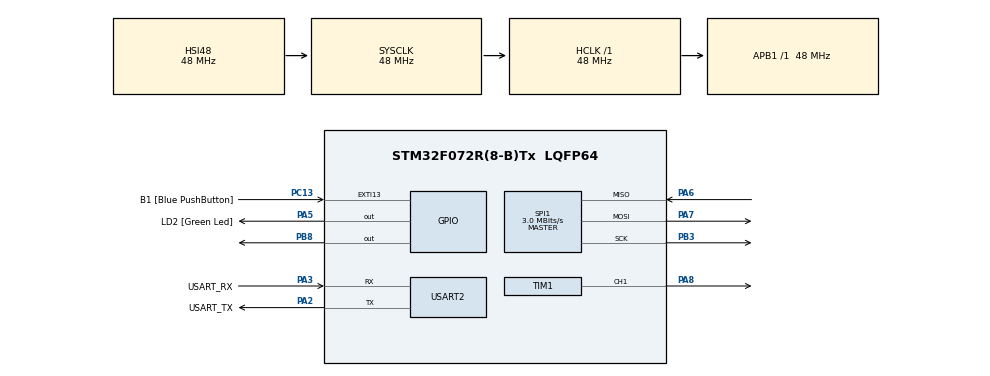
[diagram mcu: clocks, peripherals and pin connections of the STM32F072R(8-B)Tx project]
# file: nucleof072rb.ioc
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Mcu.Family=STM32F0
Mcu.Name=STM32F072R(8-B)Tx
Mcu.Package=LQFP64
PA13.GPIO_Label=TMS
PA13.Mode=Serial_Wire
PA13.Signal=SYS_SWDIO
PA14.GPIO_Label=TCK
PA14.Mode=Serial_Wire
PA14.Signal=SYS_SWCLK
PA2.GPIO_Label=USART_TX
PA2.GPIO_Mode=GPIO_MODE_AF_PP
PA2.GPIO_PuPd=GPIO_NOPULL
PA2.GPIO_Speed=GPIO_SPEED_FREQ_LOW
PA2.Mode=Asynchronous
PA2.Signal=USART2_TX
PA3.GPIO_Label=USART_RX
PA3.GPIO_Mode=GPIO_MODE_AF_PP
PA3.GPIO_PuPd=GPIO_NOPULL
PA3.GPIO_Speed=GPIO_SPEED_FREQ_LOW
PA3.Mode=Asynchronous
PA3.Signal=USART2_RX
PA5.GPIO_Label=LD2 [Green Led]
PA5.GPIO_Mode=GPIO_MODE_OUTPUT_PP
PA5.GPIO_PuPd=GPIO_NOPULL
PA5.GPIO_Speed=GPIO_SPEED_FREQ_LOW
PA5.Signal=GPIO_Output
PA6.Mode=Full_Duplex_Master
PA6.Signal=SPI1_MISO
PA7.Mode=Full_Duplex_Master
PA7.Signal=SPI1_MOSI
PA8.Signal=S_TIM1_CH1
PB3.Mode=Full_Duplex_Master
PB3.Signal=SPI1_SCK
PB8.Signal=GPIO_Output
PC13.GPIO_Label=B1 [Blue PushButton]
PC13.GPIO_ModeDefaultEXTI=GPIO_MODE_IT_FALLING
PC13.Signal=GPXTI13
PC14-OSC32_IN.Mode=LSE-External-Oscillator
PC14-OSC32_IN.Signal=RCC_OSC32_IN
PC15-OSC32_OUT.Mode=LSE-External-Oscillator
PC15-OSC32_OUT.Signal=RCC_OSC32_OUT
PF0-OSC_IN.Mode=HSE-External-Clock-Source
PF0-OSC_IN.Signal=RCC_OSC_IN
PF1-OSC_OUT.Signal=RCC_OSC_OUT
ProjectManager.HeapSize=0x200
ProjectManager.StackSize=0x400
ProjectManager.TargetToolchain=STM32CubeIDE
RCC.AHBFreq_Value=48000000
RCC.APB1Freq_Value=48000000
RCC.APB1TimFreq_Value=48000000
RCC.FLatency-AdvancedSettings=FLASH_LATENCY_1
RCC.HCLKFreq_Value=48000000
RCC.PLLDivider=RCC_PREDIV_DIV2
RCC.PLLMUL=RCC_PLL_MUL12
RCC.PREFETCH_ENABLE-AdvancedSettings=1
RCC.SYSCLKFreq_VALUE=48000000
RCC.SYSCLKSource=RCC_SYSCLKSOURCE_HSI48
SH.S_TIM1_CH1.0=TIM1_CH1,PWM Generation1 CH1
SPI1.BaudRatePrescaler=SPI_BAUDRATEPRESCALER_16
SPI1.CalculateBaudRate=3.0 MBits/s
SPI1.DataSize=SPI_DATASIZE_8BIT
SPI1.Direction=SPI_DIRECTION_2LINES
SPI1.Mode=SPI_MODE_MASTER
SPI1.VirtualType=VM_MASTER
TIM1.Channel-PWM\ Generation1\ CH1=TIM_CHANNEL_1
TIM1.Period=64000
TIM1.Prescaler=14
USART2.VirtualMode=VM_ASYNC
USART2.VirtualMode-Asynchronous=VM_ASYNC
VP_TIM1_VS_ClockSourceINT.Mode=Internal
board=NUCLEO-F072RB

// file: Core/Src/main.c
/* USER CODE BEGIN Header */
/**
  ******************************************************************************
  * @file           : main.c
  * @brief          : Main program body
  ******************************************************************************
  * @attention
  *
  * <h2><center>&copy; Copyright (c) 2021 STMicroelectronics.
  * All rights reserved.</center></h2>
  *
  * This software component is licensed by ST under BSD 3-Clause license,
  * the "License"; You may not use this file except in compliance with the
  * License. You may obtain a copy of the License at:
  *                        opensource.org/licenses/BSD-3-Clause
  *
  ******************************************************************************
  */
/* USER CODE END Header */
#include "main.h"
#include "spi.h"
#include "tim.h"
#include "usart.h"
#include "gpio.h"

void SystemClock_Config(void);

int main(void)
{

  /* MCU Configuration--------------------------------------------------------*/

  /* Reset of all peripherals, Initializes the Flash interface and the Systick. */
  HAL_Init();

  /* Configure the system clock */
  SystemClock_Config();

  /* Initialize all configured peripherals */
  MX_GPIO_Init();
  MX_USART2_UART_Init();
  MX_SPI1_Init();
  MX_TIM1_Init();
  /* USER CODE BEGIN 2 */
  uint8_t tx_data[3] = {0b00000001, 0b10000000, 0b00000000}; //first byte: start bit, second byte: single ended mode channel 0 (where potentiometer is connected), third byte: don't care bits
  uint8_t rx_data[3]; //receives 3 bytes
  uint16_t adc_value;

  const uint16_t TIMER_COUNT = 64000; //value that was configured in the ioc file
  const uint16_t MAX_ADC_VALUE = 1023; //since 10-bit ADC
  const float MAX_DUTY = 0.1 * TIMER_COUNT; //maximum duty should be 10%
  const float MIN_DUTY = 0.05 * TIMER_COUNT; //minimum duty should be 5%

  const float SCALE_FACTOR = (MAX_DUTY - MIN_DUTY)/MAX_ADC_VALUE; //restricts the ADC value to be minimum 5% and max 10%

  float pwm_counts;

  HAL_TIM_PWM_Start(&htim1, TIM_CHANNEL_1); //starts PWM signal on TIM1, channel 1

  /* USER CODE END 2 */

  /* Infinite loop */
  /* USER CODE BEGIN WHILE */
  while (1)
  {
	  HAL_GPIO_WritePin(GPIOB,GPIO_PIN_8, GPIO_PIN_RESET); //CS Line set to low to initiate communication
	  HAL_SPI_TransmitReceive(&hspi1, tx_data, rx_data, 3, HAL_MAX_DELAY); //transmits the tx_data and receives the rx_data through SPI
	  HAL_GPIO_WritePin(GPIOB,GPIO_PIN_8, GPIO_PIN_SET); //CS Line set to high to end communication

	  adc_value = ((rx_data[1] & 0b00000011) << 8) | rx_data[2]; //isolating the 2 bits contained in the second byte with bit masking. Then shifting the two bits to the front using bit shifting. Since ADC has 10 bits, the remaining 8 bits is from the bits contained in the 3rd byte
	  pwm_counts = MIN_DUTY + adc_value*SCALE_FACTOR;
	  __HAL_TIM_SET_COMPARE(&htim1, TIM_CHANNEL_1, (uint16_t)pwm_counts); //converts ADC value to PWM signal

	  HAL_Delay(10); //ensures MCU doesn't overload the ADC
    /* USER CODE END WHILE */

  }
}

void SystemClock_Config(void)
{
  RCC_OscInitTypeDef RCC_OscInitStruct = {0};
  RCC_ClkInitTypeDef RCC_ClkInitStruct = {0};
  RCC_PeriphCLKInitTypeDef PeriphClkInit = {0};

  /** Initializes the RCC Oscillators according to the specified parameters
  * in the RCC_OscInitTypeDef structure.
  */
  RCC_OscInitStruct.OscillatorType = RCC_OSCILLATORTYPE_HSI48;
  RCC_OscInitStruct.HSI48State = RCC_HSI48_ON;
  RCC_OscInitStruct.PLL.PLLState = RCC_PLL_NONE;
  if (HAL_RCC_OscConfig(&RCC_OscInitStruct) != HAL_OK)
  {
    Error_Handler();
  }
  /** Initializes the CPU, AHB and APB buses clocks
  */
  RCC_ClkInitStruct.ClockType = RCC_CLOCKTYPE_HCLK|RCC_CLOCKTYPE_SYSCLK
                              |RCC_CLOCKTYPE_PCLK1;
  RCC_ClkInitStruct.SYSCLKSource = RCC_SYSCLKSOURCE_HSI48;
  RCC_ClkInitStruct.AHBCLKDivider = RCC_SYSCLK_DIV1;
  RCC_ClkInitStruct.APB1CLKDivider = RCC_HCLK_DIV1;

  if (HAL_RCC_ClockConfig(&RCC_ClkInitStruct, FLASH_LATENCY_1) != HAL_OK)
  {
    Error_Handler();
  }
  PeriphClkInit.PeriphClockSelection = RCC_PERIPHCLK_USART2;
  PeriphClkInit.Usart2ClockSelection = RCC_USART2CLKSOURCE_PCLK1;
  if (HAL_RCCEx_PeriphCLKConfig(&PeriphClkInit) != HAL_OK)
  {
    Error_Handler();
  }
}

void Error_Handler(void)
{
  __disable_irq();
  while (1)
  {
  }
}

/************************ (C) COPYRIGHT STMicroelectronics *****END OF FILE****/
